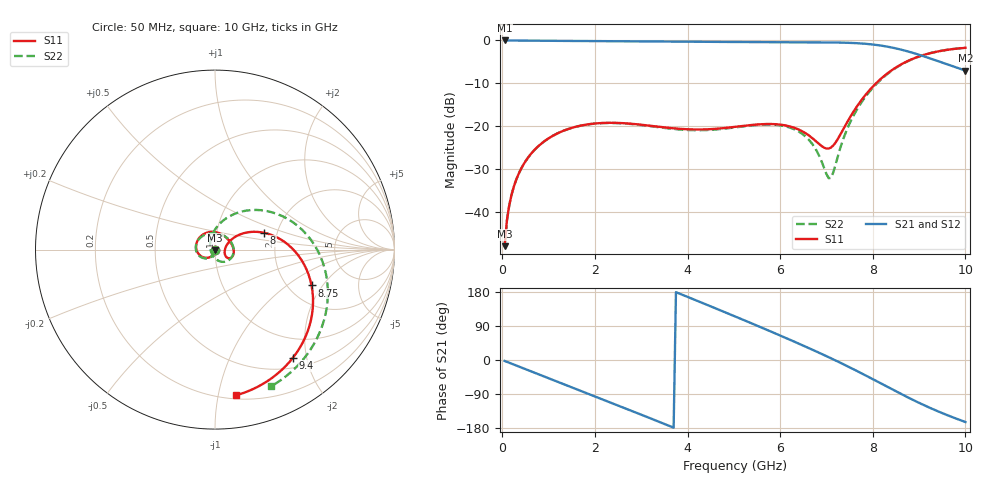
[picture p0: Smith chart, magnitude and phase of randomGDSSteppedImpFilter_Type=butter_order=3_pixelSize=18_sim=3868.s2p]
! freq	dB(S11)	phase(S11)	dB(S12)	phase(S12)
!  dB(S21)	phase(S21)	dB(S22)	phase(S22)
!S-par simulation data
#  GHz  S  DB  R 50
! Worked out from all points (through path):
!   200 points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, 50 MHz to 10 GHz, reference 50 ohm
!   highest |S21| = 0.00 dB at 50 MHz (marker M1); lowest = -7.0 dB at 10 GHz (marker M2)
!   group delay of S21, straight-line fit = 146 ps
!   lowest |S11| = -48.0 dB at 50 MHz (marker M3), VSWR 1.01, Z = 50 - j0.398 ohm
!   |S11| at or under -10 dB: start of sweep to 8.07 GHz
!   |S22| runs from -48.0 to -1.7 dB; largest |S21 - S12| = 0
!   S11 on the Smith chart (normalised r, x): 50 MHz: 1.00, -0.01; 8 GHz: 1.71, +0.35; 8.75 GHz: 2.65, -1.58; 9.4 GHz: 0.65, -1.76; 10 GHz: 0.23, -1.13
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0.05  -47.99 -91.7  -0.00 -2.5  -0.00 -2.5  -47.99 -91.4
0.1  -41.97 -94.7  -0.01 -4.9  -0.01 -4.9  -41.97 -94.3
0.2  -35.98 -100.0  -0.02 -9.7  -0.02 -9.7  -35.98 -99.2
0.5  -28.20 -115.6  -0.04 -24.1  -0.04 -24.1  -28.20 -113.4
1.15  -21.90 -148.9  -0.09 -55.2  -0.09 -55.2  -21.91 -143.6
1.75  -19.75 -179.7  -0.14 -84.0  -0.14 -84.0  -19.77 -171.0
2.5  -19.24 140.9  -0.19 -120.0  -0.19 -120.0  -19.29 155.6
3.4  -20.16 92.5  -0.24 -163.8  -0.24 -163.8  -20.28 115.7
3.8  -20.59 71.4  -0.27 176.5  -0.27 176.5  -20.75 97.2
4.2  -20.77 51.4  -0.30 156.6  -0.30 156.6  -20.95 77.5
5.05  -20.13 14.5  -0.36 113.8  -0.36 113.8  -20.25 31.2
5.45  -19.65 -1.1  -0.39 93.3  -0.39 93.3  -19.76 7.9
5.85  -19.51 -15.8  -0.42 72.5  -0.42 72.5  -19.64 -16.0
6.35  -20.55 -30.9  -0.44 46.0  -0.44 46.0  -20.96 -47.9
6.7  -22.83 -32.5  -0.45 27.0  -0.45 27.0  -24.24 -76.3
7.1  -24.97 3.7  -0.47 4.4  -0.47 4.4  -32.02 179.6
7.5  -18.09 32.3  -0.56 -19.3  -0.56 -19.3  -19.36 91.3
8  -10.77 18.9  -0.95 -50.5  -0.95 -50.5  -11.05 50.9
8.35  -7.41 1.4  -1.52 -73.0  -1.52 -73.0  -7.53 26.3
8.75  -4.83 -20.4  -2.54 -98.2  -2.54 -98.2  -4.87 -0.3
9.4  -2.58 -54.3  -4.79 -135.0  -4.79 -135.0  -2.57 -38.3
10  -1.72 -81.7  -7.03 -163.6  -7.03 -163.6  -1.69 -67.5
